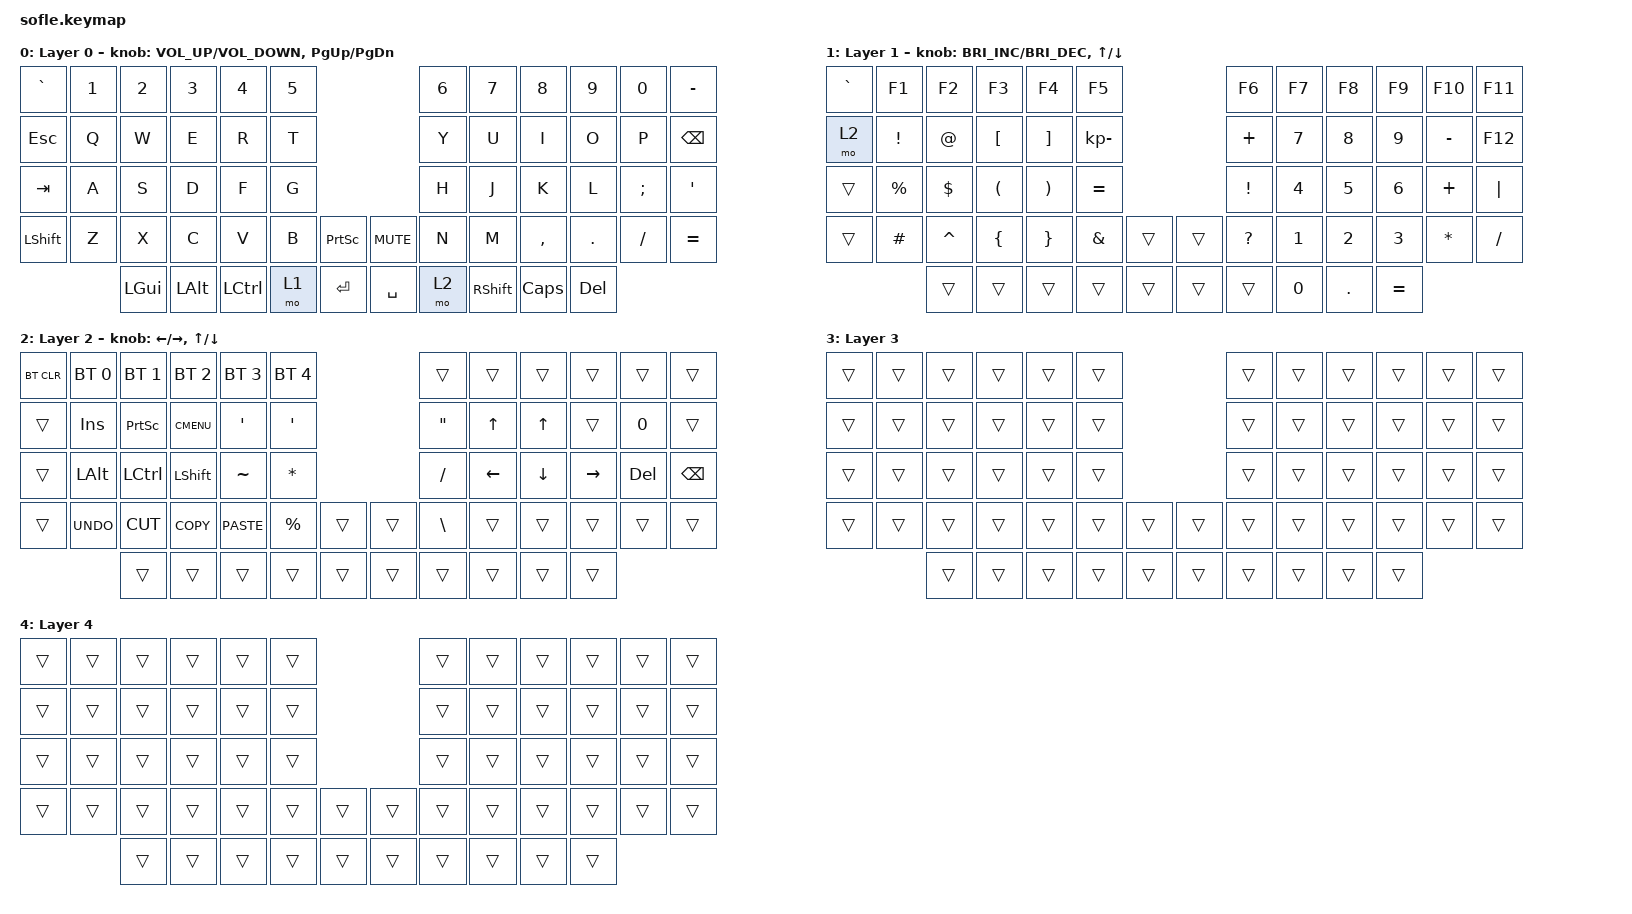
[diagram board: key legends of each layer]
/*
 * Copyright (c) 2020 The ZMK Contributors
 *
 * SPDX-License-Identifier: MIT
 */

#include <behaviors.dtsi>
#include <dt-bindings/zmk/bt.h>
#include <dt-bindings/zmk/keys.h>

&nice_view_spi { cs-gpios = <&pro_micro 0 GPIO_ACTIVE_HIGH>; };

/ {
    keymap {
        compatible = "zmk,keymap";

        default_layer {
            display-name = "Layer 0";

            // ------------------------------------------------------------------------------------------------------------
            // |  `    |  1  |  2  |  3   |  4   |  5   |                   |  6   |  7    |  8    |  9   |   0   |       |
            // |  ESC  |  Q  |  W  |  E   |  R   |  T   |                   |  Y   |  U    |  I    |  O   |   P   | BKSPC |
            // |  TAB  |  A  |  S  |  D   |  F   |  G   |                   |  H   |  J    |  K    |  L   |   ;   |   '   |
            // | SHIFT |  Z  |  X  |  C   |  V   |  B   |  MUTE  |  |       |  N   |  M    |  ,    |  .   |   /   | SHIFT |
            //               | GUI | ALT  | CTRL | LOWER|  ENTER |  | SPACE | RAISE| CTRL  | ALT   | GUI  |

            bindings = <
&kp GRAVE  &kp N1  &kp N2    &kp N3    &kp N4     &kp N5                                 &kp N6  &kp N7           &kp N8        &kp N9      &kp N0    &kp MINUS
&kp ESC    &kp Q   &kp W     &kp E     &kp R      &kp T                                  &kp Y   &kp U            &kp I         &kp O       &kp P     &kp BSPC
&kp TAB    &kp A   &kp S     &kp D     &kp F      &kp G                                  &kp H   &kp J            &kp K         &kp L       &kp SEMI  &kp SQT
&kp LSHFT  &kp Z   &kp X     &kp C     &kp V      &kp B   &kp PRINTSCREEN    &kp C_MUTE  &kp N   &kp M            &kp COMMA     &kp DOT     &kp FSLH  &kp EQUAL
                   &kp LGUI  &kp LALT  &kp LCTRL  &mo 1   &kp RET            &kp SPACE   &mo 2   &kp RIGHT_SHIFT  &kp CAPSLOCK  &kp DELETE
            >;

            sensor-bindings =
                <&inc_dec_kp C_VOLUME_UP C_VOLUME_DOWN>,
                <&inc_dec_kp PAGE_UP PAGE_DOWN>;
        };

        lower_layer {
            display-name = "Layer 1";

            // TODO: Some binds are waiting for shifted keycode support.
            // ------------------------------------------------------------------------------------------------------------
            // | `     |  F1 |  F2 |  F3  |  F4  |  F5  |                   |  F6  |  F7   |  F8   |  F9  |  F10  |  F11  |
            // | RAISE |   1 |   2 |   3  |   4  |   5  |                   |   6  |   7   |   8   |   9  |    0  |  F12  |
            // |       |  !  |  @  |  #   |  $   |  %   |                   |  ^   |  &    |  *    |  (   |   )   |   |   |
            // |       |  =  |  -  |  +   |  {   |  }   |        |  |       |  [   |  ]    |  ;    |  :   |   \   |       |
            //               |     |      |      |      |        |  |       |      |       |       |      |

            bindings = <
&kp GRAVE  &kp F1           &kp F2       &kp F3                &kp F4                 &kp F5                           &kp F6        &kp F7        &kp F8        &kp F9        &kp F10       &kp F11
&mo 2      &kp EXCLAMATION  &kp AT_SIGN  &kp LEFT_BRACKET      &kp RIGHT_BRACKET      &kp KP_MINUS                     &kp PLUS      &kp N7        &kp N8        &kp N9        &kp MINUS     &kp F12
&trans     &kp PERCENT      &kp DOLLAR   &kp LEFT_PARENTHESIS  &kp RIGHT_PARENTHESIS  &kp EQUAL                        &kp EXCL      &kp NUMBER_4  &kp N5        &kp NUMBER_6  &kp PLUS      &kp PIPE
&trans     &kp HASH         &kp CARET    &kp LEFT_BRACE        &kp RIGHT_BRACE        &kp AMPERSAND  &trans    &trans  &kp QUESTION  &kp NUMBER_1  &kp NUMBER_2  &kp NUMBER_3  &kp ASTERISK  &kp SLASH
                            &trans       &trans                &trans                 &trans         &trans    &trans  &trans        &kp N0        &kp PERIOD    &kp EQUAL
            >;

            sensor-bindings =
                <&inc_dec_kp C_BRIGHTNESS_INC C_BRIGHTNESS_DEC>,
                <&inc_dec_kp UP_ARROW DOWN>;
        };

        raise_layer {
            display-name = "Layer 2";

            // ------------------------------------------------------------------------------------------------------------
            // |BTCLR| BT1  | BT2  |  BT3  |  BT4  |  BT5 |                |      |      |       |      |       |       |
            // |     | INS  | PSCR | GUI   |       |      |                | PGUP |      |       |      |       |       |
            // |     | ALT  | CTRL | SHIFT |       | CAPS |                |  <-  |   v  |   ^   |  ->  |  DEL  | BKSPC |
            // |     | UNDO | CUT  | COPY  | PASTE |      |      |  |      |      |      |       |      |       |       |
            //              |      |       |       |      |      |  |      |      |      |       |      |

            bindings = <
&bt BT_CLR  &bt BT_SEL 0  &bt BT_SEL 1  &bt BT_SEL 2  &bt BT_SEL 3  &bt BT_SEL 4                    &trans             &trans        &trans        &trans     &trans   &trans
&trans      &kp INS       &kp PSCRN     &kp K_CMENU   &kp SQT       &kp SQT                         &kp DOUBLE_QUOTES  &kp UP_ARROW  &kp UP_ARROW  &trans     &kp N0   &trans
&trans      &kp LALT      &kp LCTRL     &kp LSHFT     &kp TILDE     &kp ASTERISK                    &kp SLASH          &kp LEFT      &kp DOWN      &kp RIGHT  &kp DEL  &kp BSPC
&trans      &kp K_UNDO    &kp K_CUT     &kp K_COPY    &kp K_PASTE   &kp PERCENT   &trans    &trans  &kp BACKSLASH      &trans        &trans        &trans     &trans   &trans
                          &trans        &trans        &trans        &trans        &trans    &trans  &trans             &trans        &trans        &trans
            >;

            sensor-bindings =
                <&inc_dec_kp LEFT RIGHT>,
                <&inc_dec_kp UP_ARROW DOWN>;
        };

        layer_3 {
            display-name = "Layer 3";
            bindings = <
&trans  &trans  &trans  &trans  &trans  &trans                    &trans  &trans  &trans  &trans  &trans  &trans
&trans  &trans  &trans  &trans  &trans  &trans                    &trans  &trans  &trans  &trans  &trans  &trans
&trans  &trans  &trans  &trans  &trans  &trans                    &trans  &trans  &trans  &trans  &trans  &trans
&trans  &trans  &trans  &trans  &trans  &trans  &trans    &trans  &trans  &trans  &trans  &trans  &trans  &trans
                &trans  &trans  &trans  &trans  &trans    &trans  &trans  &trans  &trans  &trans
            >;
        };

        layer_4 {
            display-name = "Layer 4";
            bindings = <
&trans  &trans  &trans  &trans  &trans  &trans                    &trans  &trans  &trans  &trans  &trans  &trans
&trans  &trans  &trans  &trans  &trans  &trans                    &trans  &trans  &trans  &trans  &trans  &trans
&trans  &trans  &trans  &trans  &trans  &trans                    &trans  &trans  &trans  &trans  &trans  &trans
&trans  &trans  &trans  &trans  &trans  &trans  &trans    &trans  &trans  &trans  &trans  &trans  &trans  &trans
                &trans  &trans  &trans  &trans  &trans    &trans  &trans  &trans  &trans  &trans
            >;
        };
    };
};
